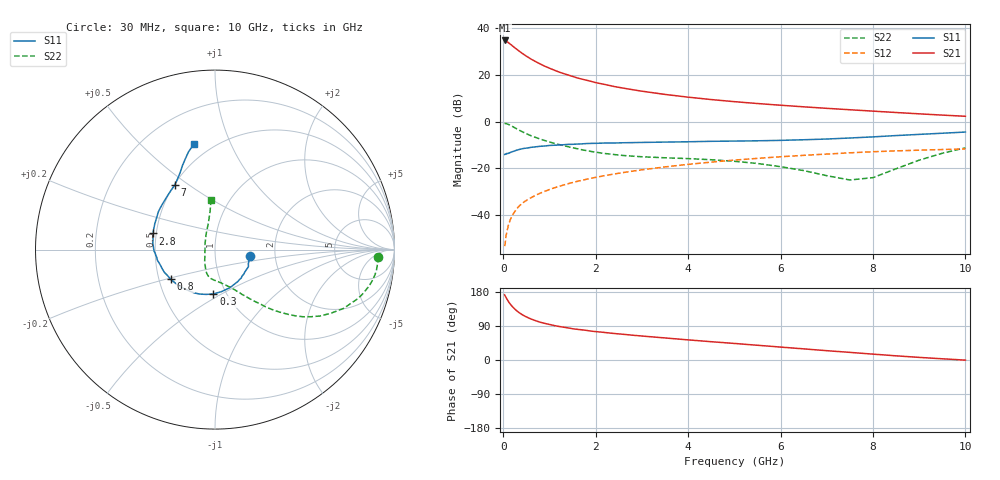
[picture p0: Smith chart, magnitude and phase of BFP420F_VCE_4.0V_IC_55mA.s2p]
! Infineon Technologies  Discrete & RF Semiconductors
! BFP420F
! VCE =  4.0 V,  IC =  55 mA
! Common Emitter S-Parameters:  Sep 2011
# GHz  S  MA  R  50
!  f  S11  S21  S12  S22
! GHz  MAG  ANG  MAG  ANG  MAG  ANG  MAG  ANG
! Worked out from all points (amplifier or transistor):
!   54 points, 30 MHz to 10 GHz, reference 50 ohm
!   highest |S21| = 34.6 dB at 30 MHz (marker M1)
!   |S21| within 3 dB of that: start of sweep to 242.3 MHz
!   unconditionally stable (mu >= 1): 1.261 GHz to end of sweep
!   at 120 MHz: K = 0.48, MSG = 38.7 dB, |S12| = -43.7 dB
!   at 1.3 GHz: K = 1.01, MAG = 23.3 dB, |S12| = -27.1 dB
!   at 10 GHz: K = 1.21, MAG = 4.2 dB, |S12| = -11.7 dB
!   S11 on the Smith chart (normalised r, x): 30 MHz: 1.48, -0.11; 300 MHz: 0.87, -0.46; 800 MHz: 0.58, -0.21; 2.8 GHz: 0.48, +0.10; 7 GHz: 0.50, +0.44; 10 GHz: 0.40, +0.73
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0.03  0.1986 -10.4  53.72 172.0  0.0022 82.0  0.9069 -2.5
0.05  0.2001 -17.0  52.42 167.2  0.0029 82.9  0.9081 -5.9
0.07  0.2088 -26.8  51.56 163.1  0.004 81.8  0.9012 -9.2
0.08  0.2085 -28.9  50.6 160.8  0.0045 80.4  0.8956 -10.7
0.1  0.2081 -37.7  49.43 156.7  0.0054 79.7  0.8806 -13.5
0.13  0.2157 -47.3  46.66 151.1  0.007 78.5  0.854 -17.4
0.15  0.2187 -54.4  45.1 147.9  0.008 77.7  0.8349 -19.6
0.2  0.228 -68.7  41.17 140.7  0.0101 76.2  0.7861 -24.7
0.25  0.237 -81.4  37.49 134.4  0.012 73.8  0.7373 -28.7
0.3  0.2472 -92.1  34.46 129.0  0.0141 72.9  0.694 -32.2
0.4  0.262 -109.1  29.03 120.4  0.0176 71.4  0.616 -37.4
0.5  0.2711 -121.8  24.87 113.7  0.0208 70.4  0.5523 -41.1
0.6  0.2819 -131.9  21.57 108.3  0.0237 70.1  0.5 -44.1
0.8  0.297 -146.1  16.92 99.7  0.0297 69.6  0.4237 -48.6
1.2  0.3158 -163.6  11.47 88.6  0.0413 69.3  0.3251 -55.6
1.7  0.3344 -176.7  8.059 79.6  0.0558 68.0  0.251 -63.6
2.8  0.356 165.4  4.784 65.4  0.0878 63.2  0.183 -82.6
3.5  0.365 156.8  3.796 58.2  0.1079 59.5  0.1689 -92.6
5.5  0.389 137.9  2.426 38.9  0.1642 47.0  0.1277 -113.7
7  0.4242 121.8  1.916 24.6  0.2028 36.9  0.0701 -143.7
8.5  0.5029 111.1  1.561 11.0  0.237 26.1  0.0986 120.2
10  0.5979 101.5  1.297 -0.3  0.261 16.6  0.2753 94.6
